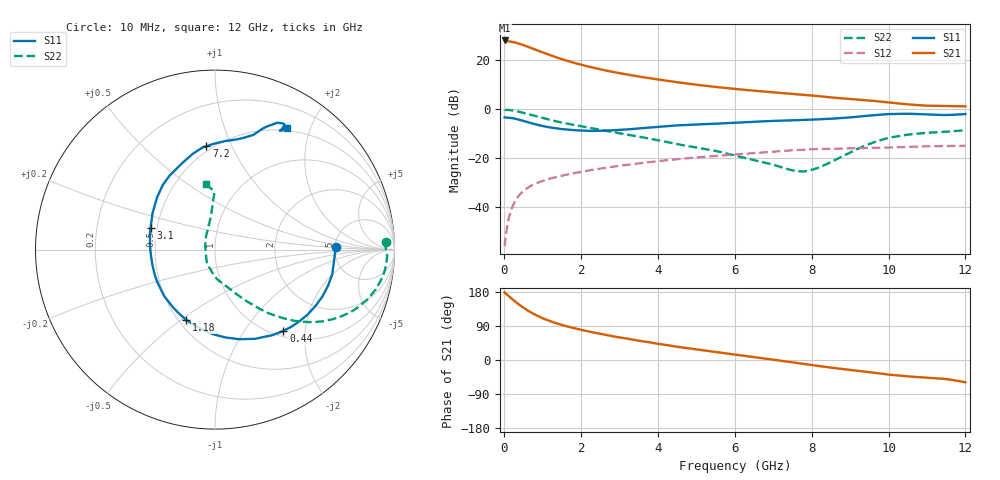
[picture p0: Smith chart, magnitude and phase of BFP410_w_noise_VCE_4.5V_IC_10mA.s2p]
! Infineon Technologies  Discrete & RF Semiconductors
! BFP410
! VCE =  4.5 V,  IC =  10 mA
! Common Emitter S-Parameters:  Nov 2015
# GHz  S  MA  R  50
!  f  S11  S21  S12  S22
! GHz  MAG  ANG  MAG  ANG  MAG  ANG  MAG  ANG
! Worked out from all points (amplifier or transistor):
!   243 points, 10 MHz to 12 GHz, reference 50 ohm
!   highest |S21| = 27.9 dB at 10 MHz (marker M1)
!   |S21| within 3 dB of that: start of sweep to 688.8 MHz
!   unconditionally stable (mu >= 1): start of sweep to 26.17 MHz; 2.436 GHz to end of sweep
!   at 240 MHz: K = 0.29, MSG = 33.0 dB, |S12| = -38.9 dB
!   at 1.84 GHz: K = 0.85, MSG = 22.4 dB, |S12| = -26.1 dB
!   at 12 GHz: K = 1.04, MAG = 6.8 dB, |S12| = -15.0 dB
!   lowest NFmin = 1.28 dB at 900 MHz
!   S11 on the Smith chart (normalised r, x): 10 MHz: 5.17, +0.23; 440 MHz: 1.11, -1.54; 1.18 GHz: 0.55, -0.52; 3.1 GHz: 0.46, +0.13; 7.2 GHz: 0.47, +0.80; 12 GHz: 0.47, +1.66
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0.01  0.6764 1.0  24.94 178.5  0.0016 40.6  0.9537 2.7
0.05  0.666 -5.4  24.27 174.3  0.0029 51.4  0.9602 -2.0
0.145  0.6616 -17.1  23.8 166.2  0.0072 70.9  0.9508 -7.7
0.24  0.644 -28.0  22.98 157.9  0.0114 70.8  0.9288 -12.8
0.34  0.6192 -39.4  22.01 149.8  0.0156 68.5  0.8966 -17.6
0.44  0.5915 -49.9  20.8 142.2  0.0192 65.9  0.8601 -21.9
0.6  0.5451 -65.8  18.76 131.0  0.0244 61.7  0.7968 -27.8
0.7  0.5169 -75.0  17.53 125.1  0.0273 59.7  0.758 -30.9
0.92  0.4658 -93.2  15.03 113.8  0.0325 56.0  0.6803 -36.4
1.18  0.4226 -112.1  12.62 103.1  0.0378 53.3  0.6028 -41.3
1.3  0.4081 -119.9  11.69 98.7  0.04 52.2  0.5727 -43.1
1.52  0.3879 -132.6  10.25 91.9  0.044 50.8  0.5252 -45.9
2.02  0.3635 -157.5  7.916 79.2  0.0527 48.2  0.4432 -51.0
2.58  0.3616 178.4  6.245 67.2  0.0623 45.0  0.367 -56.0
3.1  0.3792 161.2  5.203 58.0  0.0712 42.0  0.3107 -60.6
4.1  0.4394 136.1  3.89 41.3  0.0882 35.7  0.2228 -71.2
5  0.4838 121.5  3.12 27.8  0.1029 29.2  0.1641 -86.3
6.1  0.5292 107.2  2.521 13.0  0.1195 21.2  0.1076 -105.6
7.2  0.5776 94.8  2.124 -1.9  0.1385 12.4  0.0654 -138.4
8.2  0.6163 81.6  1.815 -16.1  0.1527 2.0  0.0645 146.7
10.2  0.7931 62.7  1.312 -40.3  0.1658 -13.5  0.2752 92.0
12  0.787 59.2  1.134 -58.7  0.1786 -29.1  0.3687 97.6
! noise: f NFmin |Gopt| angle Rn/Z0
0.45  1.31  0.05  -19  0.16
0.9  1.28  0.04  1  0.16
1.8  1.42  0.03  -159  0.16
2.4  1.4  0.09  -121  0.17
5.5  2.27  0.35  -113  0.27
10  3.42  0.67  -49  1.87
